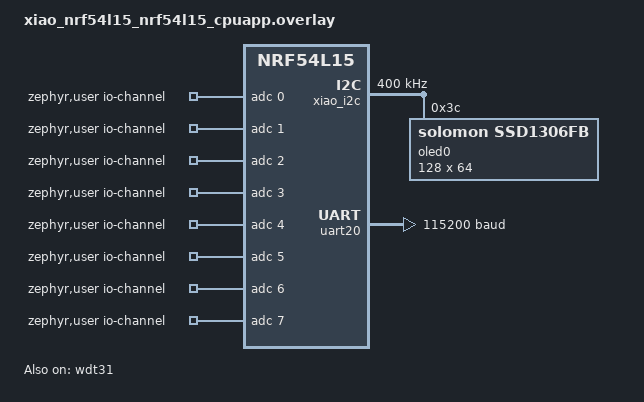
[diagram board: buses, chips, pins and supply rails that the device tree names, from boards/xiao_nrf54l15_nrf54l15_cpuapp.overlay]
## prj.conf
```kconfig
# prj.conf — Gesture Recognition (Model A / Model B)
# TensorFlow Lite Micro pipeline

# ── 1. AI ENGINE & C++ ────────────────────────────────────────────────────────
CONFIG_CPP=y
CONFIG_STD_CPP17=y
CONFIG_EXTERNAL_LIBCPP=y
CONFIG_NEWLIB_LIBC=y
CONFIG_NEWLIB_LIBC_FLOAT_PRINTF=y
CONFIG_FPU=y
CONFIG_TENSORFLOW_LITE_MICRO=y
CONFIG_SIZE_OPTIMIZATIONS=y

# ── 2. MEMORY & STACK ─────────────────────────────────────────────────────────
CONFIG_MAIN_STACK_SIZE=8192
CONFIG_HEAP_MEM_POOL_SIZE=16384
CONFIG_SYSTEM_WORKQUEUE_STACK_SIZE=4096

# ── 3. HARDWARE ───────────────────────────────────────────────────────────────
CONFIG_GPIO=y
CONFIG_I2C=y

# ── 4. POWER MANAGEMENT ───────────────────────────────────────────────────────
CONFIG_PM=y
CONFIG_PM_DEVICE=y
CONFIG_PM_DEVICE_RUNTIME=y


# Prevents the kernel from waking up every 1ms just to increment a counter.
CONFIG_TICKLESS_KERNEL=y
CONFIG_SYS_CLOCK_TICKS_PER_SEC=32768


CONFIG_NRF_GRTC_TIMER=y
```

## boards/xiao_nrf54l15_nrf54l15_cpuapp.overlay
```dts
/ {
    chosen {
        /* Tell Zephyr this is the main screen */
        zephyr,display = &oled0;
    };
	zephyr,user {
		io-channels = <&adc 0>, <&adc 1>, <&adc 2>, <&adc 3>,
			<&adc 4>, <&adc 5>, <&adc 6>, <&adc 7>;
	};
};
 
&xiao_i2c {
    clock-frequency = <400000>;
    status = "okay";
    zephyr,concat-buf-size = <1025>;
    zephyr,flash-buf-max-size = <1025>;
    /* The SSD1306 Driver Definition */
    oled0: ssd1306@3c {
        compatible = "solomon,ssd1306fb";
        reg = <0x3c>; /* Address 0x3C */
        width = <128>;
        height = <64>;
        segment-offset = <0>;
        page-offset = <0>;
        display-offset = <0>;
        multiplex-ratio = <63>;
        segment-remap;
        com-invdir;
        prechargep = <0x22>;
    };
};
&wdt31 {
	status = "okay";
};


&uart20 {
    current-speed = <115200>;
	//current-speed = <460800>;
};
```

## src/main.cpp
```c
#include <stdio.h>
#include <string.h>
#include <math.h>
#include <algorithm> // For std::clamp

#include <zephyr/kernel.h>
#include <zephyr/device.h>
#include <zephyr/drivers/i2c.h>
#include <zephyr/drivers/gpio.h>
#include <zephyr/sys_clock.h>
#include <zephyr/pm/device.h>
#include <zephyr/pm/device_runtime.h>

#include "tensorflow/lite/micro/micro_mutable_op_resolver.h"
#include "tensorflow/lite/micro/micro_interpreter.h"
#include "tensorflow/lite/schema/schema_generated.h"

// Update these to match your latest exported file names!
#include "model_simple.h" 
#include "scaler_params.h"

// ── 1. CONFIGURATION ──────────────────────────────────────────────────────────
#define SAMPLE_RATE_HZ   50
#define TOTAL_SAMPLES    150
#define SAMPLE_DELAY_MS  (1000 / SAMPLE_RATE_HZ)
#define NUM_CLASSES      5

#define LED_ON  0
#define LED_OFF 1

// ── 2. HARDWARE NODES ─────────────────────────────────────────────────────────
static const struct i2c_dt_spec imu = I2C_DT_SPEC_GET(DT_NODELABEL(lsm6dso));
static const struct device *const imu_dev = imu.bus;

static const struct gpio_dt_spec button = GPIO_DT_SPEC_GET(DT_ALIAS(sw0),  gpios);
static const struct gpio_dt_spec led    = GPIO_DT_SPEC_GET(DT_ALIAS(led0), gpios);

// ── 3. GLOBALS ────────────────────────────────────────────────────────────────
struct RawSample { int16_t ax, ay, az, gx, gy, gz; };
static struct RawSample rx_buffer[TOTAL_SAMPLES];

static K_SEM_DEFINE(button_sem, 0, 1);
static struct gpio_callback button_cb_data;

// ── 4. AI BUFFERS ─────────────────────────────────────────────────────────────
// Increased to 20KB to ensure the Deep Model has enough workspace
constexpr int kArenaSize = 20 * 1024;
alignas(16) static uint8_t tensor_arena[kArenaSize];

static tflite::MicroInterpreter *interpreter  = nullptr;
static TfLiteTensor             *input_tensor  = nullptr;
static TfLiteTensor             *output_tensor = nullptr;

// ── 5. BUTTON ISR ─────────────────────────────────────────────────────────────
static void button_isr(const struct device *dev, struct gpio_callback *cb, uint32_t pins) {
    k_sem_give(&button_sem);
}

// ── 6. IMU LOW-LEVEL POWER HELPERS ───────────────────────────────────────────
static void imu_wake_up(void) {
    i2c_reg_write_byte_dt(&imu, 0x10, 0x60); 
    i2c_reg_write_byte_dt(&imu, 0x11, 0x6C);
    k_msleep(10); 
}

static void imu_power_down(void) {
    i2c_reg_write_byte_dt(&imu, 0x10, 0x00); 
    i2c_reg_write_byte_dt(&imu, 0x11, 0x00);
    k_busy_wait(100); 
}

// ── 7. AI SETUP ───────────────────────────────────────────────────────────────
static void setup_ai(void) {
    const tflite::Model *model = tflite::GetModel(model_simple);
    
    // We added BatchNormalization and Relu which are required for the Deep model
    static tflite::MicroMutableOpResolver<15> resolver;
    resolver.AddConv2D();
    resolver.AddL2Normalization();
    resolver.AddRelu();
    resolver.AddMaxPool2D();
    resolver.AddAveragePool2D();
    resolver.AddFullyConnected();
    resolver.AddSoftmax();
    resolver.AddReshape();
    resolver.AddQuantize();
    resolver.AddDequantize();
    resolver.AddExpandDims();
    // Supporting Ops often needed by TFLite converters
    resolver.AddMul();
    resolver.AddAdd();
    resolver.AddMean();

    static tflite::MicroInterpreter static_interpreter(model, resolver, tensor_arena, kArenaSize);
    interpreter = &static_interpreter;
    
    // CRITICAL: If this fails, we must stop to prevent the MPU FAULT (Null Pointer)
    if (interpreter->AllocateTensors() != kTfLiteOk) {
        printk("!!! AI ALLOCATION FAILED. Check Arena Size or Ops.\n");
        return; 
    }

    input_tensor  = interpreter->input(0);
    output_tensor = interpreter->output(0);
    
    if (input_tensor != nullptr) {
        printk("AI Ready. Input size: %d bytes\n", input_tensor->bytes);
    }
}

// ── 8. GESTURE RECORDING ──────────────────────────────────────────────────────
static void record_gesture(void) {
    //gpio_pin_set_dt(&led, LED_ON);

    for (int i = 0; i < TOTAL_SAMPLES; i++) {
        uint8_t raw[6];
        i2c_burst_read_dt(&imu, 0x28, raw, 6);
        rx_buffer[i].ax = (int16_t)(raw[0] | (raw[1] << 8));
        rx_buffer[i].ay = (int16_t)(raw[2] | (raw[3] << 8));
        rx_buffer[i].az = (int16_t)(raw[4] | (raw[5] << 8));

        i2c_burst_read_dt(&imu, 0x22, raw, 6);
        rx_buffer[i].gx = (int16_t)(raw[0] | (raw[1] << 8));
        rx_buffer[i].gy = (int16_t)(raw[2] | (raw[3] << 8));
        rx_buffer[i].gz = (int16_t)(raw[4] | (raw[5] << 8));

        k_msleep(SAMPLE_DELAY_MS);
    }

    //gpio_pin_set_dt(&led, LED_OFF);
}

// ── 9. INFERENCE ──────────────────────────────────────────────────────────────
static void run_inference(void) {
    if (interpreter == nullptr || input_tensor == nullptr) return;

    // ── 1. Preprocessing Timing Start ────────────────────────────────────────
    uint32_t dsp_start = k_cycle_get_32();

    int8_t *input_ptr = tflite::GetTensorData<int8_t>(input_tensor);
    const float in_scale = input_tensor->params.scale;
    const int in_zp = input_tensor->params.zero_point;
    size_t input_idx = 0;

    for (int i = 0; i < TOTAL_SAMPLES; i++) {
        float ax = (float)rx_buffer[i].ax;
        float ay = (float)rx_buffer[i].ay;
        float az = (float)rx_buffer[i].az;
        float gx = (float)rx_buffer[i].gx;
        float gy = (float)rx_buffer[i].gy;
        float gz = (float)rx_buffer[i].gz;

        float acc_mag  = sqrtf(ax*ax + ay*ay + az*az);
        float gyro_mag = sqrtf(gx*gx + gy*gy + gz*gz);
        float feat[8]  = {ax, ay, az, acc_mag, gx, gy, gz, gyro_mag};

        for (int j = 0; j < 8; j++) {
            if (input_idx < input_tensor->bytes) {
                float norm = (feat[j] - SENSOR_MEAN[j]) / SENSOR_STD[j];
                int8_t quant = (int8_t)std::clamp<int>((int)roundf(norm / in_scale + in_zp), -128, 127);
                input_ptr[input_idx++] = quant;
            }
        }
    }
    uint32_t dsp_us = k_cyc_to_us_near32(k_cycle_get_32() - dsp_start);

    // ── 2. Invoke Timing Start ───────────────────────────────────────────────
    uint32_t invoke_start = k_cycle_get_32();
    TfLiteStatus invoke_status = interpreter->Invoke();
    uint32_t invoke_us = k_cyc_to_us_near32(k_cycle_get_32() - invoke_start);

    if (invoke_status != kTfLiteOk) {
        printk("ERROR: Inference failed!\n");
        return;
    }

    // ── 3. Memory & Metadata ─────────────────────────────────────────────────
    size_t used = interpreter->arena_used_bytes();
    int    pct  = (int)((used * 100) / kArenaSize);
    uint32_t total_us = dsp_us + invoke_us;

    // Find best class
    int8_t max_val = -128;
    int best_idx = 0;
    for (int i = 0; i < NUM_CLASSES; i++) {
        if (output_tensor->data.int8[i] > max_val) {
            max_val = output_tensor->data.int8[i];
            best_idx = i;
        }
    }

    // Dequantize the output for "Confidence" percentage
    float confidence = (max_val - output_tensor->params.zero_point) * output_tensor->params.scale;
    const char *labels[NUM_CLASSES] = {"double_tap", "flick", "lift", "rotate", "shake"};

    // ── 4. VISUAL REPORT ─────────────────────────────────────────────────────
    printk("\n╔══════════════════════════════╗\n");
    printk("║   GESTURE INFERENCE REPORT   ║\n");
    printk("╠══════════════════════════════╣\n");
    printk("║ Scaling/Mag : %6u us    ║\n", dsp_us);
    printk("║ TFLM Invoke : %6u us    ║\n", invoke_us);
    printk("║ Total Time  : %6u us    ║\n", total_us);
    printk("║              %4u.%03u ms   ║\n", total_us / 1000, total_us % 1000);
    printk("╠══════════════════════════════╣\n");
    printk("║ Arena Used  : %5zu bytes   ║\n", used);
    printk("║ Usage       : %5d %%       ║\n", pct);
    printk("╠══════════════════════════════╣\n");
    printk("║ Result      : %-12s ║\n", labels[best_idx]);
    printk("║ Confidence  : %5d %%        ║\n", (int)(confidence * 100));
    printk("╚══════════════════════════════╝\n\n");

    // Logic to confirm shape matches Python [1, 150, 8, 1]
    TfLiteTensor* inp = interpreter->input(0);
    printk("Input shape: [%d, %d, %d, %d]\n", 
           inp->dims->data[0], inp->dims->data[1], 
           inp->dims->data[2], inp->dims->data[3]);
}

// ── 10. MAIN ──────────────────────────────────────────────────────────────────
int main(void) {
    k_msleep(500); 
   
    gpio_pin_configure_dt(&led, GPIO_OUTPUT_INACTIVE);
    gpio_pin_set_dt(&led, LED_OFF);
    gpio_pin_configure_dt(&button, GPIO_INPUT | GPIO_PULL_UP);
    gpio_pin_interrupt_configure_dt(&button, GPIO_INT_EDGE_TO_ACTIVE);
    gpio_init_callback(&button_cb_data, button_isr, BIT(button.pin));
    gpio_add_callback(button.port, &button_cb_data);

    setup_ai();

    pm_device_runtime_enable(imu_dev);
    pm_device_runtime_get(imu_dev);
    i2c_reg_write_byte_dt(&imu, 0x12, 0x01); // Reset
    k_msleep(50);
    imu_power_down(); 
    pm_device_runtime_put(imu_dev);

    printk("System Active. Waiting for button...\n");

    while (1) {
        k_sem_take(&button_sem, K_FOREVER);

        pm_device_runtime_get(imu_dev);
        imu_wake_up();
       
        printk("Recording...");
        record_gesture();
       
        imu_power_down();
        pm_device_runtime_put(imu_dev);

        printk("Processing...\n");
        run_inference();
    }
}
```
